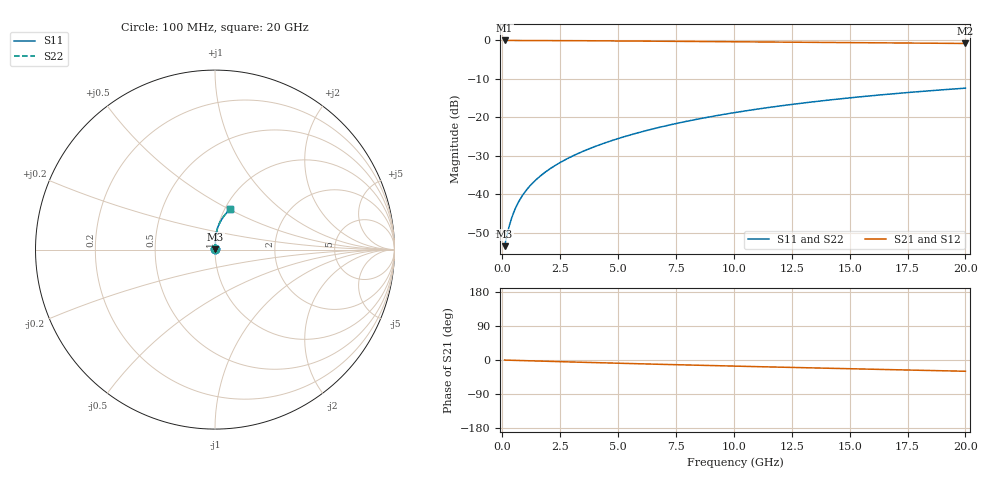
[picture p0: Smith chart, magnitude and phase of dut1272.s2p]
! Touchstone file exported from HFSS 2024.1.0
!  File:  C:/UserFiles/LocalFiles/RDL_TSV_Batchsim/temp_RDL_top_1272_1780242235.aedt
!  Generated:  11:45:55 PM May 31, 2026
!  Design:  RDL_top
!  Project:  temp_RDL_top_1272_1780242235
!  Setup:  Setup1
!  Solution:  Sweep
! Variables:
!  dtsv = 10.80580581um
!  hbump = 3um
!  htsv = 72.88um
!  ldown = 100um
!  lrdl = 463.83um
!  p = 40
!  p1 = 40.97um
!  rhole = 1um
!  t = 450um
!  tdown = 3.915915916um
!  trdl = 4.66um
!  wdown = 15.38538539um
!  wrdl = 22.54um
# GHz S MA R 50.000000
! Terminal data exported
! Port[1] = Box2_T1
! Port[2] = Box2_T2
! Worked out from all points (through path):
!   200 points, 100 MHz to 20 GHz, reference 50 ohm
!   highest |S21| = -0.02 dB at 100 MHz (marker M1); lowest = -0.8 dB at 20 GHz (marker M2)
!   group delay of S21, straight-line fit = 4.08 ps
!   lowest |S11| = -53.5 dB at 100 MHz (marker M3), VSWR 1.00, Z = 50.2 + j0.119 ohm
!   |S11| at or under -10 dB: start of sweep to end of sweep
!   |S22| runs from -53.5 to -12.4 dB; largest |S21 - S12| = 3.3e-15
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0.1  0.002117 34.2  0.9982 -0.2  0.9982 -0.2  0.002117 34.2
! Gamma 0 0 0 0
! Port Impedance 50 0 50 0
0.2  0.002915 53.8  0.9981 -0.4  0.9981 -0.4  0.002916 53.7
0.3  0.003869 63.9  0.9979 -0.6  0.9979 -0.6  0.003871 63.9
0.4  0.004872 69.6  0.9978 -0.7  0.9978 -0.7  0.004874 69.6
0.5  0.005888 73.1  0.9977 -0.9  0.9977 -0.9  0.005891 73.1
0.6  0.006906 75.4  0.9975 -1.1  0.9975 -1.1  0.006909 75.3
0.8  0.00893 78.2  0.9973 -1.4  0.9973 -1.4  0.008933 78.1
1.1  0.01193 80.5  0.9969 -2.0  0.9969 -2.0  0.01193 80.5
1.5  0.01588 82.4  0.9962 -2.7  0.9962 -2.7  0.01588 82.4
1.8  0.01885 83.4  0.9956 -3.2  0.9956 -3.2  0.01885 83.4
2.1  0.02184 84.3  0.9949 -3.7  0.9949 -3.7  0.02184 84.3
2.7  0.02793 85.6  0.9932 -4.7  0.9932 -4.7  0.02793 85.6
3.5  0.03632 86.7  0.9904 -6.1  0.9904 -6.1  0.03632 86.7
4.2  0.04394 87.2  0.9876 -7.2  0.9876 -7.2  0.04394 87.2
5  0.05297 87.5  0.9841 -8.5  0.9841 -8.5  0.05296 87.5
6.8  0.07437 87.0  0.9756 -11.4  0.9756 -11.4  0.07436 87.0
8.4  0.09436 85.7  0.9677 -13.8  0.9677 -13.8  0.09435 85.7
10.1  0.1162 83.7  0.9593 -16.2  0.9593 -16.2  0.1162 83.7
11.7  0.1369 81.6  0.9515 -18.5  0.9515 -18.5  0.1369 81.6
13.4  0.1588 79.2  0.9434 -20.9  0.9434 -20.9  0.1588 79.2
16.7  0.2003 74.2  0.9278 -25.4  0.9278 -25.4  0.2002 74.2
20  0.2395 69.3  0.9125 -29.7  0.9125 -29.7  0.2395 69.3
